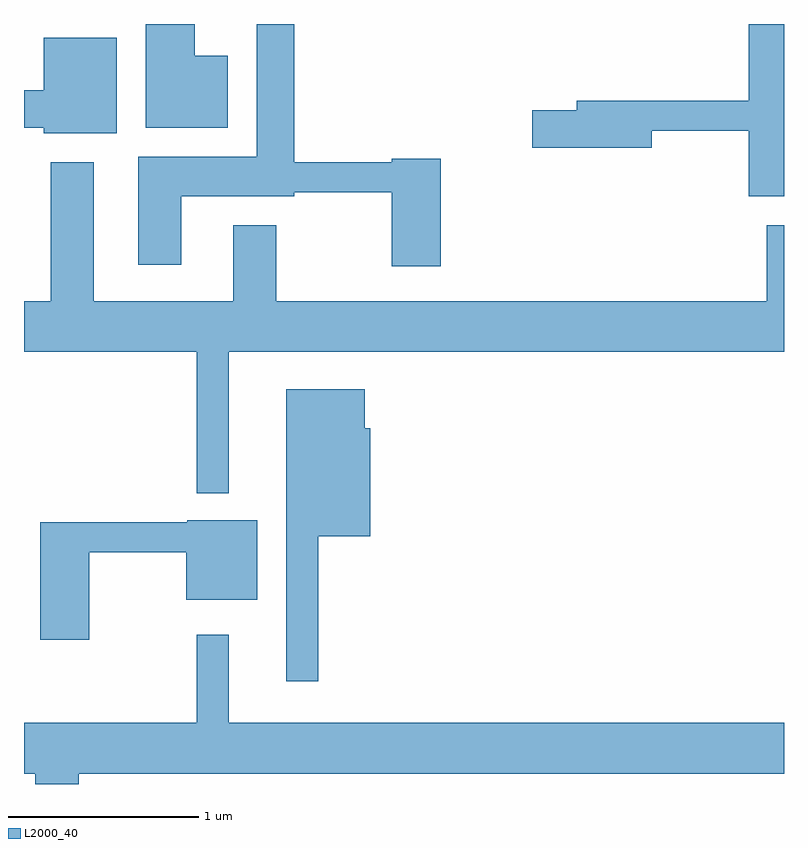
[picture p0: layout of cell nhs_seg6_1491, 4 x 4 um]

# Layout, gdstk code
import gdstk
lib = gdstk.Library(unit=1e-6, precision=1e-09)
def P(c, l, *ps):  # polygons
    for p in ps: c.add(gdstk.Polygon(p, *l))
L2000_40 = (2000, 40)

nhs_seg6_1491 = lib.new_cell('nhs_seg6_1491')
P(nhs_seg6_1491, L2000_40, [(231.804,1595.454),(231.546,1595.454),(231.546,1595.434),(231.034,1595.434),(231.034,1596.162),(230.836,1596.162),(230.836,1595.464),(230.211,1595.464),(230.211,1594.896),(230.439,1594.896),(230.439,1595.256),(231.034,1595.256),(231.034,1595.276),(231.546,1595.276),(231.546,1594.886),(231.804,1594.886)],
  [(230.684,1595.994),(230.509,1595.994),(230.509,1596.162),(230.251,1596.162),(230.251,1595.616),(230.684,1595.616)],
  [(233.611,1596.162),(233.426,1596.162),(233.426,1595.759),(232.521,1595.759),(232.521,1595.709),(232.286,1595.709),(232.286,1595.511),(232.914,1595.511),(232.914,1595.601),(233.426,1595.601),(233.426,1595.256),(233.611,1595.256)],
  [(230.099,1596.089),(229.716,1596.089),(229.716,1595.814),(229.611,1595.814),(229.611,1595.616),(229.716,1595.616),(229.716,1595.586),(230.099,1595.586)],
  [(229.979,1595.434),(229.751,1595.434),(229.751,1594.704),(229.611,1594.704),(229.611,1594.436),(230.521,1594.436),(230.521,1593.693),(230.689,1593.693),(230.689,1594.436),(233.611,1594.436),(233.611,1595.104),(233.521,1595.104),(233.521,1594.704),(230.939,1594.704),(230.939,1595.104),(230.711,1595.104),(230.711,1594.704),(229.979,1594.704)],
  [(231.159,1593.466),(231.434,1593.466),(231.434,1594.034),(231.404,1594.034),(231.404,1594.239),(230.991,1594.239),(230.991,1592.703),(231.159,1592.703)],
  [(229.954,1593.381),(230.466,1593.381),(230.466,1593.131),(230.839,1593.131),(230.839,1593.549),(230.47,1593.549),(230.47,1593.539),(229.696,1593.539),(229.696,1592.921),(229.954,1592.921)],
  [(229.899,1592.216),(233.611,1592.216),(233.611,1592.484),(230.689,1592.484),(230.689,1592.948),(230.521,1592.948),(230.521,1592.484),(229.611,1592.484),(229.611,1592.216),(229.671,1592.216),(229.671,1592.162),(229.899,1592.162)])

lib.write_gds('nhs_seg6_1491.gds')
